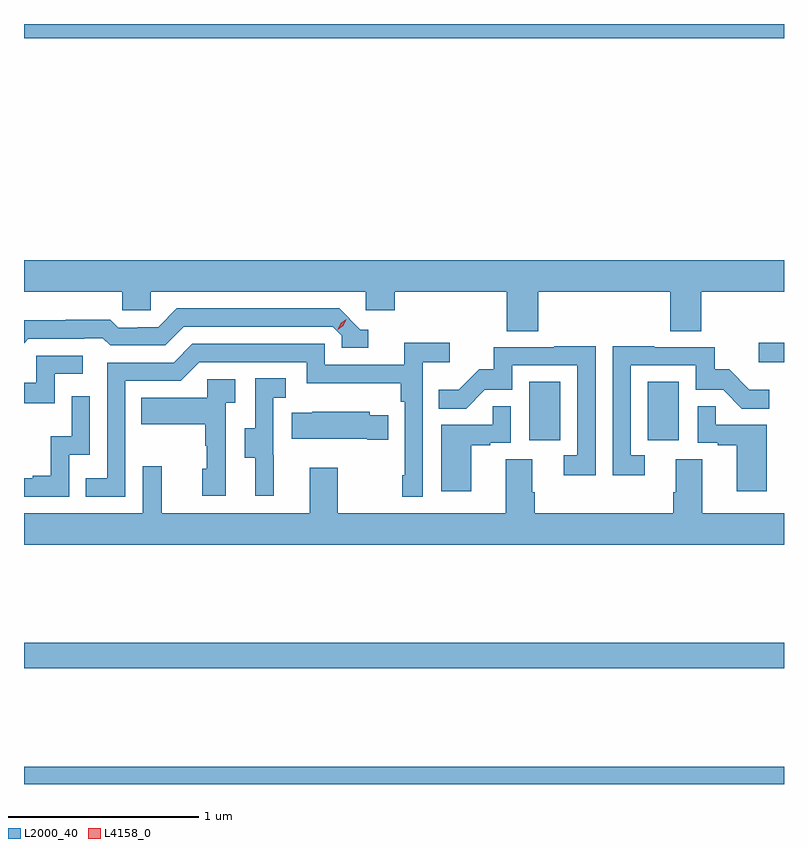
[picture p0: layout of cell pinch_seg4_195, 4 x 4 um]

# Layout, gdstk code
import gdstk
lib = gdstk.Library(unit=1e-6, precision=1e-09)
def R(c, l, rs):  # rectangles x0, y0, x1, y1
    for r in rs: c.add(gdstk.rectangle(r[:2], r[2:], *l))
def P(c, l, *ps):  # polygons
    for p in ps: c.add(gdstk.Polygon(p, *l))
L2000_40 = (2000, 40)
L4158_0 = (4158, 0)

pinch_seg4_195 = lib.new_cell('pinch_seg4_195')
R(pinch_seg4_195, L2000_40, [(972.559,815.54,976.559,815.632), (972.559,816.148,976.559,816.284), (975.218,817.35,975.382,817.657), (975.842,817.35,976.006,817.657), (976.425,817.76,976.559,817.862), (972.559,819.464,976.559,819.54)])
P(pinch_seg4_195, L2000_40, [(972.559,818.132),(973.077,818.132),(973.077,818.034),(973.227,818.034),(973.227,818.132),(974.358,818.132),(974.358,818.034),(974.51,818.034),(974.51,818.132),(975.101,818.132),(975.101,817.924),(975.266,817.924),(975.266,818.132),(975.959,818.132),(975.959,817.924),(976.124,817.924),(976.124,818.132),(976.559,818.132),(976.559,818.296),(972.559,818.296)],
  [(974.371,817.932),(974.328,817.932),(974.217,818.043),(973.364,818.043),(973.265,817.944),(973.158,817.944),(973.158,817.941),(973.055,817.941),(973.013,817.984),(972.78,817.984),(972.78,817.981),(972.559,817.981),(972.559,817.861),(972.582,817.884),(972.875,817.884),(972.875,817.887),(972.974,817.887),(973.013,817.848),(973.302,817.848),(973.401,817.947),(974.184,817.947),(974.232,817.899),(974.232,817.836),(974.371,817.836)],
  [(973.092,817.662),(973.383,817.662),(973.482,817.761),(974.046,817.761),(974.046,817.649),(974.542,817.649),(974.542,817.553),(974.562,817.553),(974.562,817.165),(974.55,817.165),(974.55,817.053),(974.658,817.053),(974.658,817.76),(974.8,817.76),(974.8,817.862),(974.561,817.862),(974.561,817.746),(974.142,817.746),(974.142,817.857),(973.445,817.857),(973.346,817.758),(972.996,817.758),(972.996,817.149),(972.883,817.149),(972.883,817.053),(973.092,817.053)],
  [(975.567,817.844),(975.349,817.844),(975.349,817.839),(975.031,817.839),(975.031,817.722),(974.954,817.722),(974.847,817.615),(974.743,817.615),(974.743,817.516),(974.887,817.516),(974.985,817.614),(975.129,817.614),(975.129,817.743),(975.471,817.743),(975.471,817.269),(975.399,817.269),(975.399,817.164),(975.567,817.164)],
  [(975.826,817.269),(975.753,817.269),(975.753,817.743),(976.095,817.743),(976.095,817.614),(976.239,817.614),(976.337,817.516),(976.481,817.516),(976.481,817.615),(976.377,817.615),(976.27,817.722),(976.194,817.722),(976.194,817.839),(975.875,817.839),(975.875,817.844),(975.657,817.844),(975.657,817.164),(975.826,817.164)],
  [(972.72,817.698),(972.868,817.698),(972.868,817.794),(972.624,817.794),(972.624,817.653),(972.559,817.653),(972.559,817.545),(972.72,817.545)],
  [(973.874,817.269),(973.872,817.269),(973.872,817.573),(973.936,817.573),(973.936,817.676),(973.776,817.676),(973.776,817.413),(973.721,817.413),(973.721,817.258),(973.775,817.258),(973.775,817.056),(973.874,817.056)],
  [(973.62,817.547),(973.672,817.547),(973.672,817.671),(973.524,817.671),(973.524,817.573),(973.177,817.573),(973.177,817.433),(973.512,817.433),(973.512,817.319),(973.522,817.319),(973.522,817.2),(973.496,817.2),(973.496,817.056),(973.62,817.056)],
  [(972.798,817.272),(972.906,817.272),(972.906,817.582),(972.81,817.582),(972.81,817.37),(972.701,817.37),(972.701,817.162),(972.605,817.162),(972.605,817.149),(972.559,817.149),(972.559,817.053),(972.798,817.053)],
  [(976.468,817.431),(976.199,817.431),(976.199,817.529),(976.104,817.529),(976.104,817.335),(976.211,817.335),(976.211,817.323),(976.31,817.323),(976.31,817.08),(976.468,817.08)],
  [(974.914,817.323),(975.014,817.323),(975.014,817.335),(975.12,817.335),(975.12,817.529),(975.025,817.529),(975.025,817.431),(974.756,817.431),(974.756,817.08),(974.914,817.08)],
  [(974.477,817.48),(974.379,817.48),(974.379,817.498),(974.077,817.498),(974.077,817.495),(973.969,817.495),(973.969,817.358),(974.366,817.358),(974.366,817.351),(974.477,817.351)],
  [(976.559,816.964),(976.129,816.964),(976.129,817.25),(975.989,817.25),(975.989,817.076),(975.977,817.076),(975.977,816.964),(975.248,816.964),(975.248,817.076),(975.235,817.076),(975.235,817.25),(975.095,817.25),(975.095,816.964),(974.211,816.964),(974.211,817.204),(974.063,817.204),(974.063,816.964),(973.283,816.964),(973.283,817.213),(973.185,817.213),(973.185,816.964),(972.559,816.964),(972.559,816.8),(976.559,816.8)])
P(pinch_seg4_195, L4158_0, [(974.209,817.932),(974.209,817.933),(974.225,817.965),(974.255,817.985),(974.256,817.985),(974.256,817.984),(974.24,817.952),(974.209,817.932)])

lib.write_gds('pinch_seg4_195.gds')
